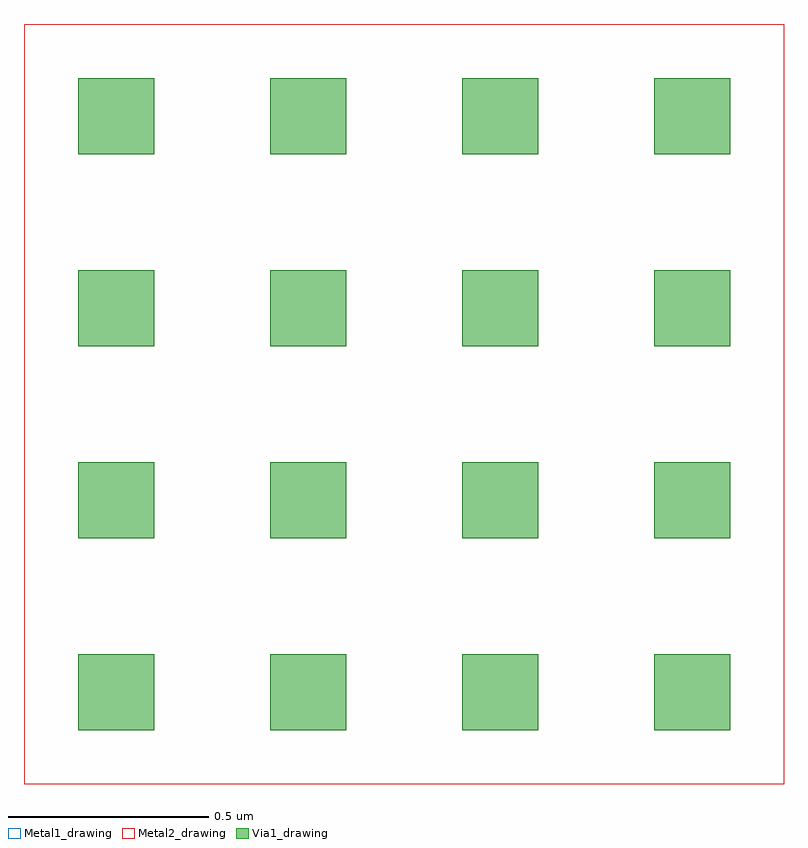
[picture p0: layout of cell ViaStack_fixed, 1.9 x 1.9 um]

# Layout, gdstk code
import gdstk
lib = gdstk.Library(unit=1e-6, precision=1e-09)
def R(c, l, rs):  # rectangles x0, y0, x1, y1
    for r in rs: c.add(gdstk.rectangle(r[:2], r[2:], *l))
def A(c, l, x, y, w, h, nx, ny, dx, dy):  # array of equal rectangles
    R(c, l, [(x+i*dx, y+j*dy, x+i*dx+w, y+j*dy+h) for i in range(nx) for j in range(ny)])
Metal1_drawing = (8, 0)
Metal2_drawing = (10, 0)
Via1_drawing = (19, 0)

viastack_fixed = lib.new_cell('ViaStack_fixed')
R(viastack_fixed, Metal1_drawing, [(-0.95,-0.95,0.95,0.95)])
R(viastack_fixed, Metal2_drawing, [(-0.95,-0.95,0.95,0.95)])
A(viastack_fixed, Via1_drawing, -0.815, -0.815, 0.19, 0.19, 4, 4, 0.48, 0.48)

lib.write_gds('ViaStack_fixed.gds')
